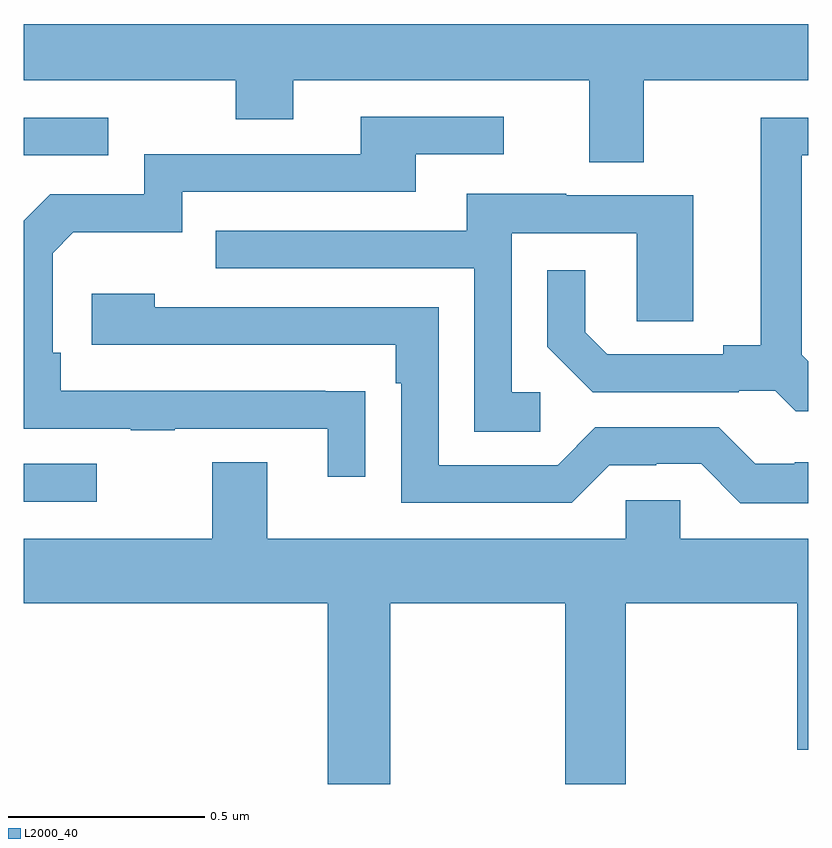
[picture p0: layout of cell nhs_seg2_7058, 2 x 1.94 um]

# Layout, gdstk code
import gdstk
lib = gdstk.Library(unit=1e-6, precision=1e-09)
def R(c, l, rs):  # rectangles x0, y0, x1, y1
    for r in rs: c.add(gdstk.rectangle(r[:2], r[2:], *l))
def P(c, l, *ps):  # polygons
    for p in ps: c.add(gdstk.Polygon(p, *l))
L2000_40 = (2000, 40)

nhs_seg2_7058 = lib.new_cell('nhs_seg2_7058')
R(nhs_seg2_7058, L2000_40, [(199,626.583,199.186,626.679), (199,627.465,199.216,627.561)])
P(nhs_seg2_7058, L2000_40, [(200.581,627.656),(201,627.656),(201,627.8),(199,627.8),(199,627.656),(199.54,627.656),(199.54,627.557),(199.687,627.557),(199.687,627.656),(200.441,627.656),(200.441,627.448),(200.581,627.448)],
  [(199.871,626.864),(199.769,626.864),(199.769,626.865),(199.094,626.865),(199.094,626.962),(199.074,626.962),(199.074,627.216),(199.127,627.269),(199.404,627.269),(199.404,627.372),(199.999,627.372),(199.999,627.468),(200.224,627.468),(200.224,627.564),(199.859,627.564),(199.859,627.468),(199.308,627.468),(199.308,627.366),(199.068,627.366),(199,627.298),(199,626.769),(199.273,626.769),(199.273,626.764),(199.385,626.764),(199.385,626.769),(199.775,626.769),(199.775,626.646),(199.871,626.646)],
  [(201,626.94),(200.983,626.957),(200.983,627.465),(201,627.465),(201,627.561),(200.879,627.561),(200.879,626.981),(200.783,626.981),(200.783,626.958),(200.488,626.958),(200.431,627.015),(200.431,627.172),(200.334,627.172),(200.334,626.978),(200.45,626.862),(200.822,626.862),(200.822,626.865),(200.916,626.865),(200.968,626.813),(201,626.813)],
  [(200.317,626.862),(200.244,626.862),(200.244,627.267),(200.562,627.267),(200.562,627.043),(200.707,627.043),(200.707,627.363),(200.383,627.363),(200.383,627.367),(200.129,627.367),(200.129,627.273),(199.489,627.273),(199.489,627.177),(200.148,627.177),(200.148,626.761),(200.317,626.761)],
  [(201,626.683),(200.965,626.683),(200.965,626.679),(200.865,626.679),(200.772,626.772),(200.457,626.772),(200.361,626.676),(200.058,626.676),(200.058,627.078),(199.334,627.078),(199.334,627.112),(199.173,627.112),(199.173,626.982),(199.949,626.982),(199.949,626.885),(199.962,626.885),(199.962,626.58),(200.397,626.58),(200.493,626.676),(200.612,626.676),(200.612,626.679),(200.727,626.679),(200.827,626.579),(201,626.579)],
  [(199.935,626.324),(200.38,626.324),(200.38,625.863),(200.535,625.863),(200.535,626.324),(200.972,626.324),(200.972,625.95),(201,625.95),(201,626.488),(200.673,626.488),(200.673,626.586),(200.535,626.586),(200.535,626.488),(199.621,626.488),(199.621,626.683),(199.481,626.683),(199.481,626.488),(199,626.488),(199,626.324),(199.775,626.324),(199.775,625.863),(199.935,625.863)])

lib.write_gds('nhs_seg2_7058.gds')
